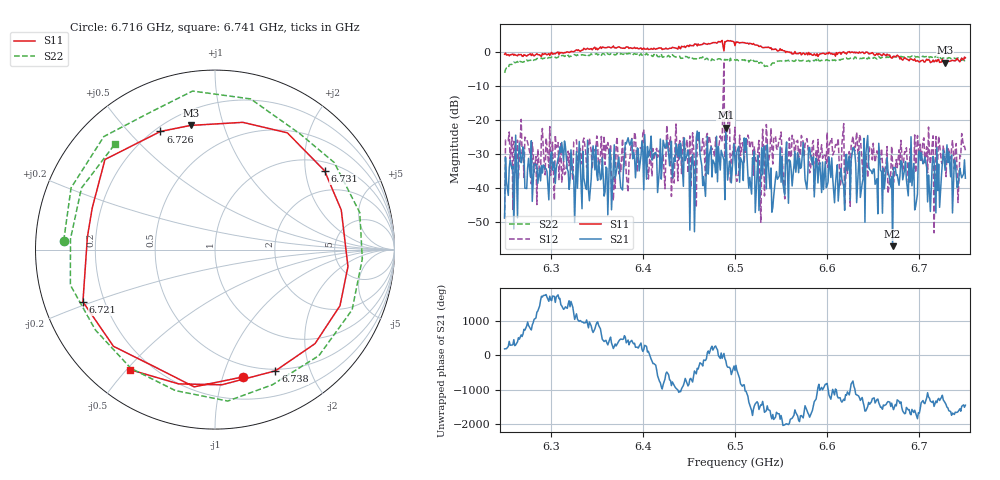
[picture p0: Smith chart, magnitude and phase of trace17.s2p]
# Hz S RI R 50
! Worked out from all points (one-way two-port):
!   401 points, 6.25 GHz to 6.75 GHz, reference 50 ohm
!   highest |S21| = -22.19 dB at 6.49 GHz (marker M1); lowest = -57.2 dB at 6.671 GHz (marker M2)
!   lowest |S11| = -3.0 dB at 6.728 GHz (marker M3), VSWR 5.78, Z = 14.2 + j39.2 ohm
!   |S11| at or under -10 dB: nowhere
!   |S22| runs from -6.0 to -0.2 dB; largest |S21 - S12| = 0.73
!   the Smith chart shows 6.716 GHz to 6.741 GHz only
!   S11 on the Smith chart (normalised r, x): 6.716 GHz: 0.39, -1.16; 6.721 GHz: 0.12, -0.19; 6.726 GHz: 0.22, +0.62; 6.731 GHz: 1.26, +2.55; 6.738 GHz: 0.48, -1.51; 6.741 GHz: 0.13, -0.51
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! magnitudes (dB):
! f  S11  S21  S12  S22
! 6.25 GHz  -0.5  -48.9  -48.9  -6.0
! 6.255 GHz  -1.0  -34.1  -23.5  -3.6
! 6.334 GHz  0.7  -46.1  -32.9  -0.7
! 6.369 GHz  1.4  -27.3  -36.2  -0.7
! 6.385 GHz  1.2  -26.5  -32.3  -0.2
! 6.418 GHz  1.4  -34.4  -28.8  -1.3
! 6.49 GHz  3.2  -22.2  -27.1  -2.2
! 6.5 GHz  2.0  -31.9  -22.0  -2.2
! 6.525 GHz  2.1  -30.4  -28.3  -2.3
! 6.534 GHz  1.5  -40.2  -21.3  -3.9
! 6.54 GHz  0.8  -47.1  -28.2  -3.3
! 6.584 GHz  -0.8  -33.1  -26.9  -2.6
! 6.668 GHz  -0.8  -37.5  -37.6  -1.2
! 6.671 GHz  -1.6  -57.2  -32.9  -1.3
! 6.716 GHz  -2.8  -32.1  -53.2  -1.5
! 6.721 GHz  -2.0  -32.9  -24.7  -1.0
! 6.726 GHz  -2.8  -28.7  -27.4  -1.6
! 6.728 GHz  -3.0  -34.8  -31.4  -1.7
! 6.731 GHz  -2.5  -32.5  -28.3  -1.7
! 6.738 GHz  -2.4  -31.7  -34.3  -1.6
! 6.741 GHz  -1.7  -39.8  -35.5  -1.8
! 6.75 GHz  -1.6  -37.1  -28.9  -2.2
